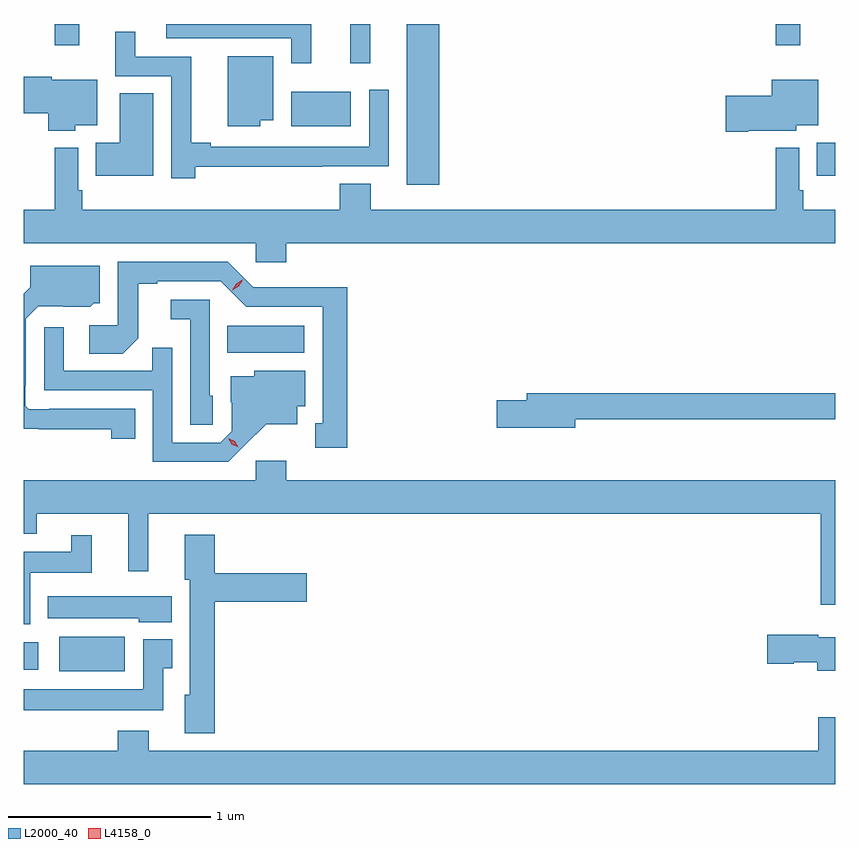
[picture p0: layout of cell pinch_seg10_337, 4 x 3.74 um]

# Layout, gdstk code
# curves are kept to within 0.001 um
import gdstk
lib = gdstk.Library(unit=1e-6, precision=1e-09)
def R(c, l, rs):  # rectangles x0, y0, x1, y1
    for r in rs: c.add(gdstk.rectangle(r[:2], r[2:], *l))
def P(c, l, *ps):  # polygons
    for p in ps: c.add(gdstk.Polygon(p, *l))
L2000_40 = (2000, 40)
L4158_0 = (4158, 0)

pinch_seg10_337 = lib.new_cell('pinch_seg10_337')
R(pinch_seg10_337, L2000_40, [(400.055,1267.571,400.378,1267.741), (399.879,1267.58,399.952,1267.714), (400.882,1269.14,401.263,1269.274), (401.768,1269.969,401.927,1270.76), (403.786,1270.013,403.879,1270.174), (401.198,1270.256,401.491,1270.426), (401.489,1270.566,401.588,1270.76), (400.032,1270.656,400.153,1270.76), (403.584,1270.656,403.705,1270.76)])
P(pinch_seg10_337, L2000_40, [(401.297,1270.76),(400.583,1270.76),(400.583,1270.689),(401.199,1270.689),(401.199,1270.566),(401.297,1270.566)],
  [(400.724,1270.058),(401.354,1270.058),(401.354,1270.059),(401.679,1270.059),(401.679,1270.435),(401.583,1270.435),(401.583,1270.155),(400.801,1270.155),(400.801,1270.175),(400.706,1270.175),(400.706,1270.599),(400.429,1270.599),(400.429,1270.723),(400.331,1270.723),(400.331,1270.503),(400.608,1270.503),(400.608,1269.999),(400.724,1269.999)],
  [(401.044,1270.286),(401.11,1270.286),(401.11,1270.6),(400.886,1270.6),(400.886,1270.256),(401.044,1270.256)],
  [(400.134,1270.262),(400.243,1270.262),(400.243,1270.486),(400.017,1270.486),(400.017,1270.499),(399.879,1270.499),(399.879,1270.321),(400.001,1270.321),(400.001,1270.235),(400.134,1270.235)],
  [(403.45,1270.235),(403.686,1270.235),(403.686,1270.262),(403.795,1270.262),(403.795,1270.486),(403.565,1270.486),(403.565,1270.406),(403.338,1270.406),(403.338,1270.228),(403.45,1270.228)],
  [(400.519,1270.418),(400.352,1270.418),(400.352,1270.174),(400.234,1270.174),(400.234,1270.013),(400.519,1270.013)],
  [(401.174,1269.68),(403.879,1269.68),(403.879,1269.844),(403.721,1269.844),(403.721,1269.94),(403.701,1269.94),(403.701,1270.15),(403.585,1270.15),(403.585,1269.844),(401.59,1269.844),(401.59,1269.974),(401.438,1269.974),(401.438,1269.844),(400.169,1269.844),(400.169,1269.94),(400.149,1269.94),(400.149,1270.15),(400.033,1270.15),(400.033,1269.844),(399.879,1269.844),(399.879,1269.68),(401.022,1269.68),(401.022,1269.587),(401.174,1269.587)],
  [(401.473,1269.464),(401.232,1269.464),(401.232,1269.462),(401.01,1269.462),(400.884,1269.588),(400.344,1269.588),(400.344,1269.276),(400.203,1269.276),(400.203,1269.136),(400.367,1269.136),(400.443,1269.212),(400.443,1269.48),(400.537,1269.48),(400.537,1269.492),(400.851,1269.492),(400.977,1269.366),(401.354,1269.366),(401.354,1268.793),(401.315,1268.793),(401.315,1268.673),(401.473,1268.673)],
  [(400.43,1268.865),(400.006,1268.865),(400.006,1268.862),(399.906,1268.862),(399.888,1268.88),(399.888,1268.98),(399.891,1268.98),(399.891,1269.309),(399.951,1269.369),(400.208,1269.368),(400.224,1269.384),(400.255,1269.384),(400.255,1269.568),(399.911,1269.568),(399.911,1269.462),(399.879,1269.43),(399.879,1268.765),(400.312,1268.764),(400.312,1268.718),(400.43,1268.718)],
  [(400.812,1268.928),(400.797,1268.928),(400.797,1269.402),(400.605,1269.402),(400.605,1269.305),(400.701,1269.305),(400.701,1268.785),(400.812,1268.785)],
  [(400.972,1268.687),(401.075,1268.789),(401.227,1268.789),(401.227,1268.876),(401.266,1268.876),(401.266,1269.052),(401.016,1269.052),(401.016,1269.025),(400.901,1269.025),(400.901,1268.896),(400.905,1268.896),(400.905,1268.754),(400.848,1268.697),(400.611,1268.697),(400.611,1269.164),(400.513,1269.164),(400.513,1269.051),(400.077,1269.051),(400.077,1269.265),(399.981,1269.265),(399.981,1268.955),(400.515,1268.955),(400.515,1268.604),(400.888,1268.604)],
  [(402.598,1268.814),(403.879,1268.814),(403.879,1268.942),(402.359,1268.942),(402.359,1268.906),(402.21,1268.906),(402.21,1268.771),(402.598,1268.771)],
  [(403.879,1268.512),(401.174,1268.512),(401.174,1268.608),(401.022,1268.608),(401.022,1268.512),(399.879,1268.512),(399.879,1268.249),(399.943,1268.249),(399.943,1268.348),(400.394,1268.348),(400.394,1268.064),(400.493,1268.064),(400.493,1268.348),(403.806,1268.348),(403.806,1267.899),(403.879,1267.899)],
  [(400.82,1267.913),(401.275,1267.913),(401.275,1268.055),(400.82,1268.055),(400.82,1268.245),(400.673,1268.245),(400.673,1268.022),(400.697,1268.022),(400.697,1267.455),(400.673,1267.455),(400.673,1267.265),(400.82,1267.265)],
  [(399.913,1268.057),(400.214,1268.057),(400.214,1268.242),(400.115,1268.242),(400.115,1268.161),(399.879,1268.161),(399.879,1267.802),(399.913,1267.802)],
  [(400.609,1267.942),(399.998,1267.942),(399.998,1267.832),(400.446,1267.832),(400.446,1267.814),(400.609,1267.814)],
  [(403.879,1267.738),(403.794,1267.738),(403.794,1267.751),(403.542,1267.751),(403.542,1267.609),(403.674,1267.609),(403.674,1267.616),(403.79,1267.616),(403.79,1267.574),(403.879,1267.574)],
  [(400.567,1267.585),(400.612,1267.585),(400.612,1267.729),(400.47,1267.729),(400.47,1267.483),(399.879,1267.483),(399.879,1267.379),(400.567,1267.379)],
  [(403.879,1267.345),(403.793,1267.345),(403.793,1267.18),(400.495,1267.18),(400.495,1267.279),(400.343,1267.279),(400.343,1267.18),(399.879,1267.18),(399.879,1267.016),(403.879,1267.016)])
P(pinch_seg10_337, L4158_0, [(400.908,1269.449),(400.908,1269.449),(400.926,1269.481),(400.957,1269.5),(400.958,1269.5),(400.958,1269.5),(400.94,1269.467),(400.908,1269.449)],
  [(400.936,1268.676),(400.905,1268.69),(400.888,1268.72),(400.888,1268.72),(400.888,1268.72),(400.919,1268.705),(400.936,1268.676),(400.936,1268.676)])

lib.write_gds('pinch_seg10_337.gds')
